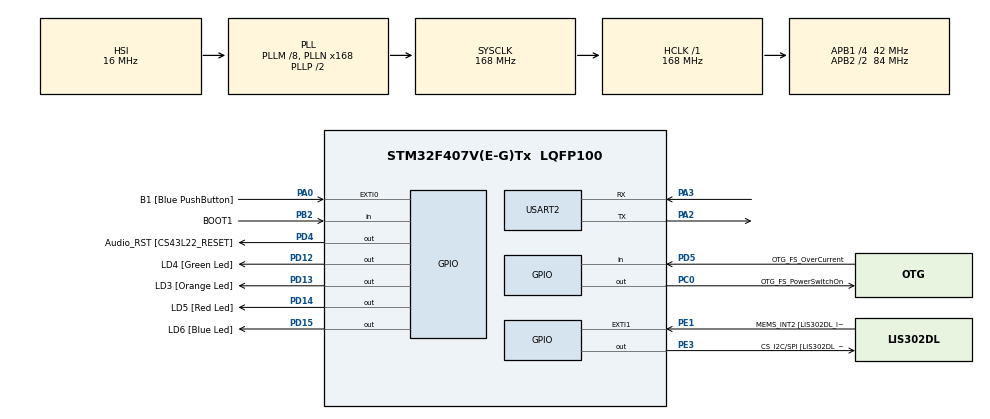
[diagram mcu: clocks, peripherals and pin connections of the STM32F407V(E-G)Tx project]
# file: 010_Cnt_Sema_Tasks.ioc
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Mcu.Family=STM32F4
Mcu.Name=STM32F407V(E-G)Tx
Mcu.Package=LQFP100
NVIC.EXTI0_IRQn=true\:6\:0\:true\:false\:true\:true\:true\:true
NVIC.PriorityGroup=NVIC_PRIORITYGROUP_4
NVIC.TIM6_DAC_IRQn=true\:15\:0\:true\:false\:true\:false\:true\:true
NVIC.TimeBase=TIM6_DAC_IRQn
NVIC.TimeBaseIP=TIM6
NVIC.USART2_IRQn=true\:0\:0\:true\:false\:true\:true\:true\:true
PA0-WKUP.GPIO_Label=B1 [Blue PushButton]
PA0-WKUP.Signal=GPXTI0
PA10.GPIO_Label=OTG_FS_ID
PA10.GPIO_Mode=GPIO_MODE_AF_PP
PA10.GPIO_PuPd=GPIO_NOPULL
PA10.GPIO_Speed=GPIO_SPEED_FREQ_LOW
PA10.Signal=USB_OTG_FS_ID
PA11.GPIO_Label=OTG_FS_DM
PA11.GPIO_Mode=GPIO_MODE_AF_PP
PA11.GPIO_PuPd=GPIO_NOPULL
PA11.GPIO_Speed=GPIO_SPEED_FREQ_LOW
PA11.Signal=USB_OTG_FS_DM
PA12.GPIO_Label=OTG_FS_DP
PA12.GPIO_Mode=GPIO_MODE_AF_PP
PA12.GPIO_PuPd=GPIO_NOPULL
PA12.GPIO_Speed=GPIO_SPEED_FREQ_LOW
PA12.Signal=USB_OTG_FS_DP
PA13.GPIO_Label=SWDIO
PA13.Signal=SYS_JTMS-SWDIO
PA14.GPIO_Label=SWCLK
PA14.Signal=SYS_JTCK-SWCLK
PA2.Mode=Asynchronous
PA2.Signal=USART2_TX
PA3.Mode=Asynchronous
PA3.Signal=USART2_RX
PA4.GPIO_Label=I2S3_WS [CS43L22_LRCK]
PA4.GPIO_Mode=GPIO_MODE_AF_PP
PA4.GPIO_PuPd=GPIO_NOPULL
PA4.GPIO_Speed=GPIO_SPEED_FREQ_LOW
PA4.Signal=I2S3_WS
PA5.GPIO_Label=SPI1_SCK [LIS302DL_SCL/SPC]
PA5.GPIO_Mode=GPIO_MODE_AF_PP
PA5.GPIO_PuPd=GPIO_NOPULL
PA5.GPIO_Speed=GPIO_SPEED_FREQ_LOW
PA5.Signal=SPI1_SCK
PA6.GPIO_Label=SPI1_MISO [LIS302DL_SDO]
PA6.GPIO_Mode=GPIO_MODE_AF_PP
PA6.GPIO_PuPd=GPIO_NOPULL
PA6.GPIO_Speed=GPIO_SPEED_FREQ_LOW
PA6.Signal=SPI1_MISO
PA7.GPIO_Label=SPI1_MOSI [LIS302DL_SDA/SDI/SDO]
PA7.GPIO_Mode=GPIO_MODE_AF_PP
PA7.GPIO_PuPd=GPIO_NOPULL
PA7.GPIO_Speed=GPIO_SPEED_FREQ_LOW
PA7.Signal=SPI1_MOSI
PA9.GPIO_Label=VBUS_FS
PA9.GPIO_Mode=GPIO_MODE_INPUT
PA9.GPIO_PuPd=GPIO_NOPULL
PA9.Signal=USB_OTG_FS_VBUS
PB10.GPIO_Label=CLK_IN [MP45DT02_CLK]
PB10.GPIO_Mode=GPIO_MODE_AF_PP
PB10.GPIO_PuPd=GPIO_NOPULL
PB10.GPIO_Speed=GPIO_SPEED_FREQ_LOW
PB10.Signal=I2S2_CK
PB2.GPIO_Label=BOOT1
PB2.GPIO_Mode=GPIO_MODE_INPUT
PB2.GPIO_PuPd=GPIO_NOPULL
PB2.Signal=GPIO_Input
PB3.GPIO_Label=SWO
PB3.Signal=SYS_JTDO-SWO
PB6.GPIO_Label=Audio_SCL [CS43L22_SCL]
PB6.GPIO_Mode=GPIO_MODE_AF_OD
PB6.GPIO_PuPd=GPIO_NOPULL
PB6.GPIO_Speed=GPIO_SPEED_FREQ_LOW
PB6.Signal=I2C1_SCL
PB9.GPIO_Label=Audio_SDA [CS43L22_SDA]
PB9.GPIO_Mode=GPIO_MODE_AF_OD
PB9.GPIO_PuPd=GPIO_NOPULL
PB9.GPIO_Speed=GPIO_SPEED_FREQ_LOW
PB9.Signal=I2C1_SDA
PC0.GPIO_Label=OTG_FS_PowerSwitchOn
PC0.GPIO_PuPd=GPIO_NOPULL
PC0.GPIO_Speed=GPIO_SPEED_FREQ_LOW
PC0.PinState=GPIO_PIN_SET
PC0.Signal=GPIO_Output
PC10.GPIO_Label=I2S3_SCK [CS43L22_SCLK]
PC10.GPIO_Mode=GPIO_MODE_AF_PP
PC10.GPIO_PuPd=GPIO_NOPULL
PC10.GPIO_Speed=GPIO_SPEED_FREQ_LOW
PC10.Signal=I2S3_CK
PC12.GPIO_Label=I2S3_SD [CS43L22_SDIN]
PC12.GPIO_Mode=GPIO_MODE_AF_PP
PC12.GPIO_PuPd=GPIO_NOPULL
PC12.GPIO_Speed=GPIO_SPEED_FREQ_LOW
PC12.Signal=I2S3_SD
PC14-OSC32_IN.GPIO_Label=PC14-OSC32_IN
PC14-OSC32_IN.Signal=RCC_OSC32_IN
PC15-OSC32_OUT.GPIO_Label=PC15-OSC32_OUT
PC15-OSC32_OUT.Signal=RCC_OSC32_OUT
PC3.GPIO_Label=PDM_OUT [MP45DT02_DOUT]
PC3.GPIO_Mode=GPIO_MODE_AF_PP
PC3.GPIO_PuPd=GPIO_NOPULL
PC3.GPIO_Speed=GPIO_SPEED_FREQ_LOW
PC3.Signal=I2S2_SD
PC7.GPIO_Label=I2S3_MCK [CS43L22_MCLK]
PC7.GPIO_Mode=GPIO_MODE_AF_PP
PC7.GPIO_PuPd=GPIO_NOPULL
PC7.GPIO_Speed=GPIO_SPEED_FREQ_LOW
PC7.Signal=I2S3_MCK
PD12.GPIO_Label=LD4 [Green Led]
PD12.GPIO_PuPd=GPIO_NOPULL
PD12.GPIO_Speed=GPIO_SPEED_FREQ_LOW
PD12.Signal=GPIO_Output
PD13.GPIO_Label=LD3 [Orange Led]
PD13.GPIO_PuPd=GPIO_NOPULL
PD13.GPIO_Speed=GPIO_SPEED_FREQ_LOW
PD13.Signal=GPIO_Output
PD14.GPIO_Label=LD5 [Red Led]
PD14.GPIO_PuPd=GPIO_NOPULL
PD14.GPIO_Speed=GPIO_SPEED_FREQ_LOW
PD14.Signal=GPIO_Output
PD15.GPIO_Label=LD6 [Blue Led]
PD15.GPIO_PuPd=GPIO_NOPULL
PD15.GPIO_Speed=GPIO_SPEED_FREQ_LOW
PD15.Signal=GPIO_Output
PD4.GPIO_Label=Audio_RST [CS43L22_RESET]
PD4.GPIO_PuPd=GPIO_NOPULL
PD4.GPIO_Speed=GPIO_SPEED_FREQ_LOW
PD4.Signal=GPIO_Output
PD5.GPIO_Label=OTG_FS_OverCurrent
PD5.GPIO_Mode=GPIO_MODE_INPUT
PD5.GPIO_PuPd=GPIO_NOPULL
PD5.Signal=GPIO_Input
PE1.GPIO_Label=MEMS_INT2 [LIS302DL_INT2]
PE1.GPIO_ModeDefaultEXTI=GPIO_MODE_EVT_RISING
PE1.GPIO_PuPd=GPIO_NOPULL
PE1.Signal=GPXTI1
PE3.GPIO_Label=CS_I2C/SPI [LIS302DL_CS_I2C/SPI]
PE3.GPIO_PuPd=GPIO_NOPULL
PE3.GPIO_Speed=GPIO_SPEED_FREQ_LOW
PE3.Signal=GPIO_Output
PH0-OSC_IN.GPIO_Label=PH0-OSC_IN
PH0-OSC_IN.Signal=RCC_OSC_IN
PH1-OSC_OUT.GPIO_Label=PH1-OSC_OUT
PH1-OSC_OUT.Signal=RCC_OSC_OUT
ProjectManager.HeapSize=0x200
ProjectManager.StackSize=0x400
ProjectManager.TargetToolchain=STM32CubeIDE
RCC.48MHZClocksFreq_Value=48000000
RCC.AHBFreq_Value=168000000
RCC.APB1CLKDivider=RCC_HCLK_DIV4
RCC.APB1Freq_Value=42000000
RCC.APB1TimFreq_Value=84000000
RCC.APB2CLKDivider=RCC_HCLK_DIV2
RCC.APB2Freq_Value=84000000
RCC.APB2TimFreq_Value=168000000
RCC.CortexFreq_Value=168000000
RCC.HCLKFreq_Value=168000000
RCC.HSE_VALUE=8000000
RCC.HSI_VALUE=16000000
RCC.LSE_VALUE=32768
RCC.PLLM=8
RCC.PLLN=168
RCC.PLLQ=7
RCC.SYSCLKFreq_VALUE=168000000
RCC.SYSCLKSource=RCC_SYSCLKSOURCE_PLLCLK
RCC.VCOOutputFreq_Value=336000000
USART2.VirtualMode=VM_ASYNC
VP_SYS_VS_tim6.Mode=TIM6
board=STM32F407G-DISC1

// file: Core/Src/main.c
/* USER CODE BEGIN Header */
/**
  ******************************************************************************
  * @file           : main.c
  * @brief          : Main program body
  ******************************************************************************
  * @attention
  *
  * Copyright (c) 2024 STMicroelectronics.
  * All rights reserved.
  *
  * This software is licensed under terms that can be found in the LICENSE file
  * in the root directory of this software component.
  * If no LICENSE file comes with this software, it is provided AS-IS.
  *
  ******************************************************************************
  */
/* USER CODE END Header */
#include "main.h"

UART_HandleTypeDef huart2;

void SystemClock_Config(void);
static void MX_GPIO_Init(void);
static void MX_USART2_UART_Init(void);

/* USER CODE BEGIN 0 */
char usr_msg[250] = {0};

xSemaphoreHandle xCountingSemaphore;

xTaskHandle handler_handle;
xTaskHandle periodic_handle;

static void vHandlerTask(void *pvParameters);
static void vPeriodicTask(void *pvParameters);
/* USER CODE END 0 */

int main(void)
{

  /* USER CODE BEGIN 1 */
	BaseType_t status;
  /* USER CODE END 1 */

  /* MCU Configuration--------------------------------------------------------*/

  /* Reset of all peripherals, Initializes the Flash interface and the Systick. */
  HAL_Init();

  /* Configure the system clock */
  SystemClock_Config();

  /* Initialize all configured peripherals */
  MX_GPIO_Init();
  MX_USART2_UART_Init();
  /* USER CODE BEGIN 2 */

  sprintf(usr_msg,"Demo of usage of counting semaphore\r\n");
  HAL_UART_Transmit(&huart2, (uint8_t*)usr_msg, strlen(usr_msg), HAL_MAX_DELAY);

  status = xTaskCreate(vHandlerTask, "Hanlder_task", 500, NULL, 1, &handler_handle);
  configASSERT(status == pdPASS);

  status = xTaskCreate(vPeriodicTask, "Periodic_task", 500, NULL, 3, &periodic_handle);
  configASSERT(status == pdPASS);

  xCountingSemaphore = xSemaphoreCreateCounting(10, 0);

  vTaskStartScheduler();
  /* USER CODE END 2 */

  /* Infinite loop */
  while (1)
  {

  }
}

void SystemClock_Config(void)
{
  RCC_OscInitTypeDef RCC_OscInitStruct = {0};
  RCC_ClkInitTypeDef RCC_ClkInitStruct = {0};

  /** Configure the main internal regulator output voltage
  */
  __HAL_RCC_PWR_CLK_ENABLE();
  __HAL_PWR_VOLTAGESCALING_CONFIG(PWR_REGULATOR_VOLTAGE_SCALE1);

  /** Initializes the RCC Oscillators according to the specified parameters
  * in the RCC_OscInitTypeDef structure.
  */
  RCC_OscInitStruct.OscillatorType = RCC_OSCILLATORTYPE_HSI;
  RCC_OscInitStruct.HSIState = RCC_HSI_ON;
  RCC_OscInitStruct.HSICalibrationValue = RCC_HSICALIBRATION_DEFAULT;
  RCC_OscInitStruct.PLL.PLLState = RCC_PLL_ON;
  RCC_OscInitStruct.PLL.PLLSource = RCC_PLLSOURCE_HSI;
  RCC_OscInitStruct.PLL.PLLM = 8;
  RCC_OscInitStruct.PLL.PLLN = 168;
  RCC_OscInitStruct.PLL.PLLP = RCC_PLLP_DIV2;
  RCC_OscInitStruct.PLL.PLLQ = 7;
  if (HAL_RCC_OscConfig(&RCC_OscInitStruct) != HAL_OK)
  {
    Error_Handler();
  }

  /** Initializes the CPU, AHB and APB buses clocks
  */
  RCC_ClkInitStruct.ClockType = RCC_CLOCKTYPE_HCLK|RCC_CLOCKTYPE_SYSCLK
                              |RCC_CLOCKTYPE_PCLK1|RCC_CLOCKTYPE_PCLK2;
  RCC_ClkInitStruct.SYSCLKSource = RCC_SYSCLKSOURCE_PLLCLK;
  RCC_ClkInitStruct.AHBCLKDivider = RCC_SYSCLK_DIV1;
  RCC_ClkInitStruct.APB1CLKDivider = RCC_HCLK_DIV4;
  RCC_ClkInitStruct.APB2CLKDivider = RCC_HCLK_DIV2;

  if (HAL_RCC_ClockConfig(&RCC_ClkInitStruct, FLASH_LATENCY_5) != HAL_OK)
  {
    Error_Handler();
  }
}

static void MX_USART2_UART_Init(void)
{

  huart2.Instance = USART2;
  huart2.Init.BaudRate = 115200;
  huart2.Init.WordLength = UART_WORDLENGTH_8B;
  huart2.Init.StopBits = UART_STOPBITS_1;
  huart2.Init.Parity = UART_PARITY_NONE;
  huart2.Init.Mode = UART_MODE_TX_RX;
  huart2.Init.HwFlowCtl = UART_HWCONTROL_NONE;
  huart2.Init.OverSampling = UART_OVERSAMPLING_16;
  if (HAL_UART_Init(&huart2) != HAL_OK)
  {
    Error_Handler();
  }

}

static void MX_GPIO_Init(void)
{
  GPIO_InitTypeDef GPIO_InitStruct = {0};

  /* GPIO Ports Clock Enable */
  __HAL_RCC_GPIOE_CLK_ENABLE();
  __HAL_RCC_GPIOC_CLK_ENABLE();
  __HAL_RCC_GPIOH_CLK_ENABLE();
  __HAL_RCC_GPIOA_CLK_ENABLE();
  __HAL_RCC_GPIOB_CLK_ENABLE();
  __HAL_RCC_GPIOD_CLK_ENABLE();

  /*Configure GPIO pin Output Level */
  HAL_GPIO_WritePin(CS_I2C_SPI_GPIO_Port, CS_I2C_SPI_Pin, GPIO_PIN_RESET);

  /*Configure GPIO pin Output Level */
  HAL_GPIO_WritePin(OTG_FS_PowerSwitchOn_GPIO_Port, OTG_FS_PowerSwitchOn_Pin, GPIO_PIN_SET);

  /*Configure GPIO pin Output Level */
  HAL_GPIO_WritePin(GPIOD, LD4_Pin|LD3_Pin|LD5_Pin|LD6_Pin
                          |Audio_RST_Pin, GPIO_PIN_RESET);

  /*Configure GPIO pin : CS_I2C_SPI_Pin */
  GPIO_InitStruct.Pin = CS_I2C_SPI_Pin;
  GPIO_InitStruct.Mode = GPIO_MODE_OUTPUT_PP;
  GPIO_InitStruct.Pull = GPIO_NOPULL;
  GPIO_InitStruct.Speed = GPIO_SPEED_FREQ_LOW;
  HAL_GPIO_Init(CS_I2C_SPI_GPIO_Port, &GPIO_InitStruct);

  /*Configure GPIO pin : OTG_FS_PowerSwitchOn_Pin */
  GPIO_InitStruct.Pin = OTG_FS_PowerSwitchOn_Pin;
  GPIO_InitStruct.Mode = GPIO_MODE_OUTPUT_PP;
  GPIO_InitStruct.Pull = GPIO_NOPULL;
  GPIO_InitStruct.Speed = GPIO_SPEED_FREQ_LOW;
  HAL_GPIO_Init(OTG_FS_PowerSwitchOn_GPIO_Port, &GPIO_InitStruct);

  /*Configure GPIO pin : PDM_OUT_Pin */
  GPIO_InitStruct.Pin = PDM_OUT_Pin;
  GPIO_InitStruct.Mode = GPIO_MODE_AF_PP;
  GPIO_InitStruct.Pull = GPIO_NOPULL;
  GPIO_InitStruct.Speed = GPIO_SPEED_FREQ_LOW;
  GPIO_InitStruct.Alternate = GPIO_AF5_SPI2;
  HAL_GPIO_Init(PDM_OUT_GPIO_Port, &GPIO_InitStruct);

  /*Configure GPIO pin : B1_Pin */
  GPIO_InitStruct.Pin = B1_Pin;
  GPIO_InitStruct.Mode = GPIO_MODE_IT_RISING;
  GPIO_InitStruct.Pull = GPIO_NOPULL;
  HAL_GPIO_Init(B1_GPIO_Port, &GPIO_InitStruct);

  /*Configure GPIO pin : I2S3_WS_Pin */
  GPIO_InitStruct.Pin = I2S3_WS_Pin;
  GPIO_InitStruct.Mode = GPIO_MODE_AF_PP;
  GPIO_InitStruct.Pull = GPIO_NOPULL;
  GPIO_InitStruct.Speed = GPIO_SPEED_FREQ_LOW;
  GPIO_InitStruct.Alternate = GPIO_AF6_SPI3;
  HAL_GPIO_Init(I2S3_WS_GPIO_Port, &GPIO_InitStruct);

  /*Configure GPIO pins : SPI1_SCK_Pin SPI1_MISO_Pin SPI1_MOSI_Pin */
  GPIO_InitStruct.Pin = SPI1_SCK_Pin|SPI1_MISO_Pin|SPI1_MOSI_Pin;
  GPIO_InitStruct.Mode = GPIO_MODE_AF_PP;
  GPIO_InitStruct.Pull = GPIO_NOPULL;
  GPIO_InitStruct.Speed = GPIO_SPEED_FREQ_LOW;
  GPIO_InitStruct.Alternate = GPIO_AF5_SPI1;
  HAL_GPIO_Init(GPIOA, &GPIO_InitStruct);

  /*Configure GPIO pin : BOOT1_Pin */
  GPIO_InitStruct.Pin = BOOT1_Pin;
  GPIO_InitStruct.Mode = GPIO_MODE_INPUT;
  GPIO_InitStruct.Pull = GPIO_NOPULL;
  HAL_GPIO_Init(BOOT1_GPIO_Port, &GPIO_InitStruct);

  /*Configure GPIO pin : CLK_IN_Pin */
  GPIO_InitStruct.Pin = CLK_IN_Pin;
  GPIO_InitStruct.Mode = GPIO_MODE_AF_PP;
  GPIO_InitStruct.Pull = GPIO_NOPULL;
  GPIO_InitStruct.Speed = GPIO_SPEED_FREQ_LOW;
  GPIO_InitStruct.Alternate = GPIO_AF5_SPI2;
  HAL_GPIO_Init(CLK_IN_GPIO_Port, &GPIO_InitStruct);

  /*Configure GPIO pins : LD4_Pin LD3_Pin LD5_Pin LD6_Pin
                           Audio_RST_Pin */
  GPIO_InitStruct.Pin = LD4_Pin|LD3_Pin|LD5_Pin|LD6_Pin
                          |Audio_RST_Pin;
  GPIO_InitStruct.Mode = GPIO_MODE_OUTPUT_PP;
  GPIO_InitStruct.Pull = GPIO_NOPULL;
  GPIO_InitStruct.Speed = GPIO_SPEED_FREQ_LOW;
  HAL_GPIO_Init(GPIOD, &GPIO_InitStruct);

  /*Configure GPIO pins : I2S3_MCK_Pin I2S3_SCK_Pin I2S3_SD_Pin */
  GPIO_InitStruct.Pin = I2S3_MCK_Pin|I2S3_SCK_Pin|I2S3_SD_Pin;
  GPIO_InitStruct.Mode = GPIO_MODE_AF_PP;
  GPIO_InitStruct.Pull = GPIO_NOPULL;
  GPIO_InitStruct.Speed = GPIO_SPEED_FREQ_LOW;
  GPIO_InitStruct.Alternate = GPIO_AF6_SPI3;
  HAL_GPIO_Init(GPIOC, &GPIO_InitStruct);

  /*Configure GPIO pin : VBUS_FS_Pin */
  GPIO_InitStruct.Pin = VBUS_FS_Pin;
  GPIO_InitStruct.Mode = GPIO_MODE_INPUT;
  GPIO_InitStruct.Pull = GPIO_NOPULL;
  HAL_GPIO_Init(VBUS_FS_GPIO_Port, &GPIO_InitStruct);

  /*Configure GPIO pins : OTG_FS_ID_Pin OTG_FS_DM_Pin OTG_FS_DP_Pin */
  GPIO_InitStruct.Pin = OTG_FS_ID_Pin|OTG_FS_DM_Pin|OTG_FS_DP_Pin;
  GPIO_InitStruct.Mode = GPIO_MODE_AF_PP;
  GPIO_InitStruct.Pull = GPIO_NOPULL;
  GPIO_InitStruct.Speed = GPIO_SPEED_FREQ_LOW;
  GPIO_InitStruct.Alternate = GPIO_AF10_OTG_FS;
  HAL_GPIO_Init(GPIOA, &GPIO_InitStruct);

  /*Configure GPIO pin : OTG_FS_OverCurrent_Pin */
  GPIO_InitStruct.Pin = OTG_FS_OverCurrent_Pin;
  GPIO_InitStruct.Mode = GPIO_MODE_INPUT;
  GPIO_InitStruct.Pull = GPIO_NOPULL;
  HAL_GPIO_Init(OTG_FS_OverCurrent_GPIO_Port, &GPIO_InitStruct);

  /*Configure GPIO pins : Audio_SCL_Pin Audio_SDA_Pin */
  GPIO_InitStruct.Pin = Audio_SCL_Pin|Audio_SDA_Pin;
  GPIO_InitStruct.Mode = GPIO_MODE_AF_OD;
  GPIO_InitStruct.Pull = GPIO_NOPULL;
  GPIO_InitStruct.Speed = GPIO_SPEED_FREQ_LOW;
  GPIO_InitStruct.Alternate = GPIO_AF4_I2C1;
  HAL_GPIO_Init(GPIOB, &GPIO_InitStruct);

  /*Configure GPIO pin : MEMS_INT2_Pin */
  GPIO_InitStruct.Pin = MEMS_INT2_Pin;
  GPIO_InitStruct.Mode = GPIO_MODE_EVT_RISING;
  GPIO_InitStruct.Pull = GPIO_NOPULL;
  HAL_GPIO_Init(MEMS_INT2_GPIO_Port, &GPIO_InitStruct);

  /* EXTI interrupt init*/
  HAL_NVIC_SetPriority(EXTI0_IRQn, 6, 0);
  HAL_NVIC_EnableIRQ(EXTI0_IRQn);

}

/* USER CODE BEGIN 4 */
static void vHandlerTask(void *pvParameters)
{
	while(1)
	{
		/* Use the semaphore to wait for the event.  The semaphore was created
		before the scheduler was started so before this task ran for the first
		time.  The task blocks indefinitely meaning this function call will only
		return once the semaphore has been successfully obtained - so there is no
		need to check the returned value. */
		xSemaphoreTake(xCountingSemaphore, portMAX_DELAY);
		/* To get here the event must have occurred.  Process the event (in this
		case we just print out a message). */
		sprintf(usr_msg, "Handler task - Processing event.\r\n");
		HAL_UART_Transmit(&huart2, (uint8_t*)usr_msg, strlen(usr_msg), HAL_MAX_DELAY);
	}
}

static void vPeriodicTask(void *pvParameters)
{
	/* As per most tasks, this task is implemented within an infinite loop. */
	for( ;; )
	{
		/* This task is just used to 'simulate' an interrupt.  This is done by
		periodically generating a software interrupt. */
		vTaskDelay(pdMS_TO_TICKS(500));

		/* Generate the interrupt, printing a message both before hand and
		afterwards so the sequence of execution is evident from the output. */
		sprintf(usr_msg, "Periodic task - Pending the interrupt.\r\n" );
		HAL_UART_Transmit(&huart2, (uint8_t*)usr_msg, strlen(usr_msg), HAL_MAX_DELAY);

		//pend the interrupt
		NVIC_SetPendingIRQ(EXTI0_IRQn);

		sprintf(usr_msg, "Periodic task - Resuming.\r\n" );
		HAL_UART_Transmit(&huart2, (uint8_t*)usr_msg, strlen(usr_msg), HAL_MAX_DELAY);
	}
}

void GPIO_EXTI_Callback(void)
{
	portBASE_TYPE xHigherPriorityTaskWoken = pdFALSE;

	/* 'Give' the semaphore multiple times.  The first will unblock the handler
	task, the following 'gives' are to demonstrate that the semaphore latches
	the events to allow the handler task to process them in turn without any
	events getting lost.  This simulates multiple interrupts being taken by the
	processor, even though in this case the events are simulated within a single
	interrupt occurrence.*/
	sprintf(usr_msg,"==>Button_Handler\r\n");
	HAL_UART_Transmit(&huart2, (uint8_t*)usr_msg, strlen(usr_msg), HAL_MAX_DELAY);

	xSemaphoreGiveFromISR( xCountingSemaphore, &xHigherPriorityTaskWoken );
	xSemaphoreGiveFromISR( xCountingSemaphore, &xHigherPriorityTaskWoken );
	xSemaphoreGiveFromISR( xCountingSemaphore, &xHigherPriorityTaskWoken );
	xSemaphoreGiveFromISR( xCountingSemaphore, &xHigherPriorityTaskWoken );
	xSemaphoreGiveFromISR( xCountingSemaphore, &xHigherPriorityTaskWoken );

	/* Clear the software interrupt bit using the interrupt controllers  */

	/* Giving the semaphore may have unblocked a task - if it did and the
	unblocked task has a priority equal to or above the currently executing
	task then xHigherPriorityTaskWoken will have been set to pdTRUE and
	portEND_SWITCHING_ISR() will force a context switch to the newly unblocked
	higher priority task.

	NOTE: The syntax for forcing a context switch within an ISR varies between
	FreeRTOS ports.  The portEND_SWITCHING_ISR() macro is provided as part of
	the Cortex M3 port layer for this purpose.  taskYIELD() must never be called
	from an ISR! */
	portEND_SWITCHING_ISR(xHigherPriorityTaskWoken);
}
/* USER CODE END 4 */

void HAL_TIM_PeriodElapsedCallback(TIM_HandleTypeDef *htim)
{
  if (htim->Instance == TIM6) {
    HAL_IncTick();
  }
}

void Error_Handler(void)
{
  __disable_irq();
  while (1)
  {
  }
}
